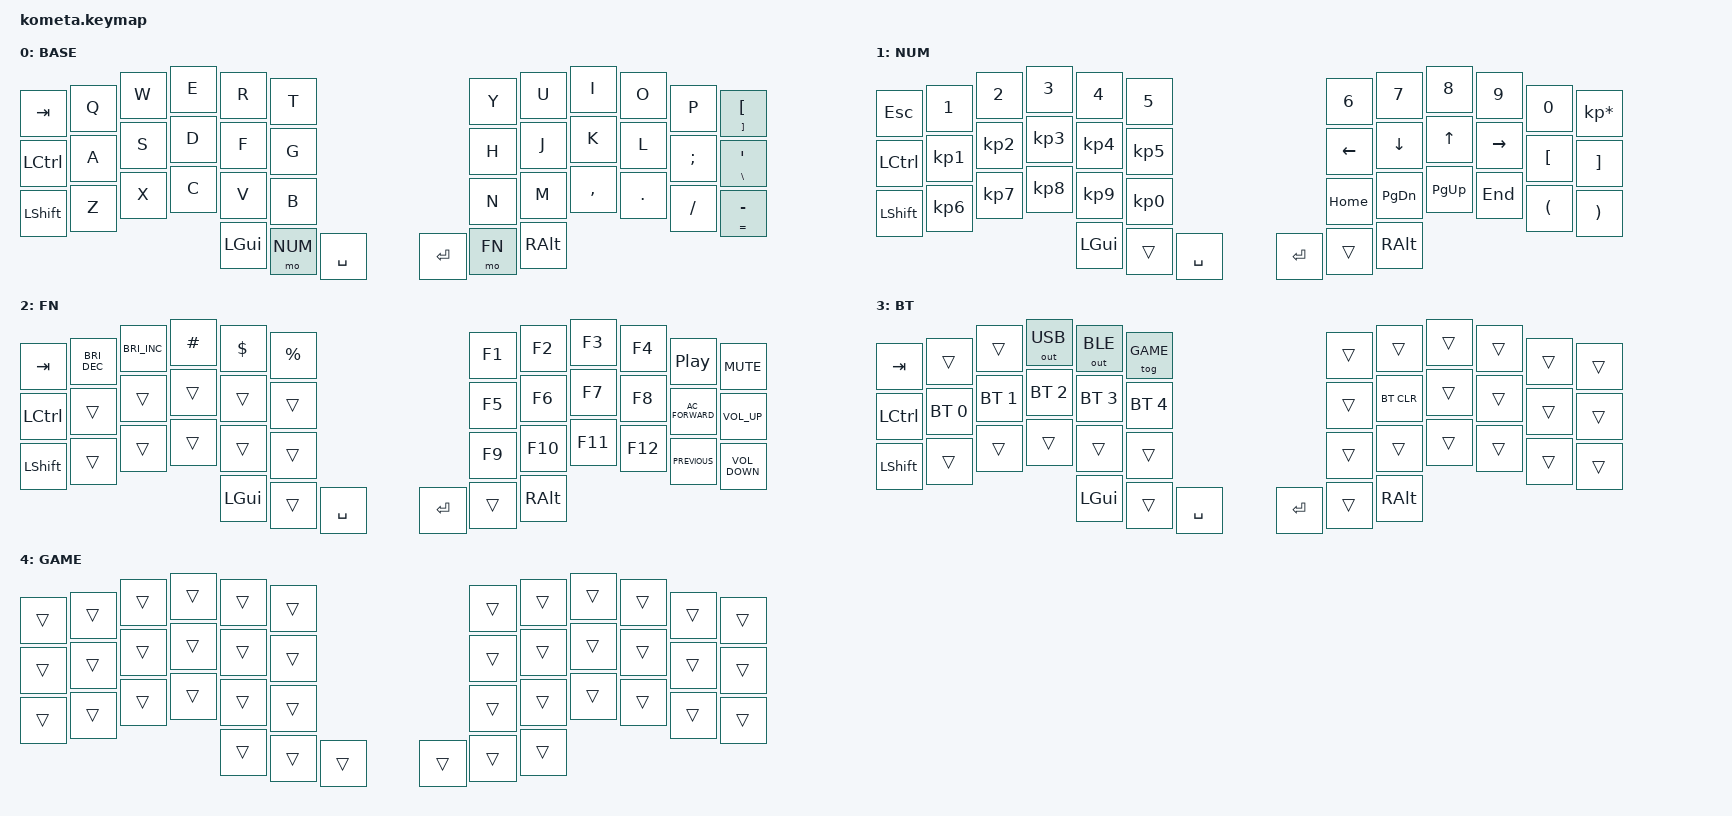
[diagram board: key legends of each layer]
/*
 * Copyright (c) 2020 The ZMK Contributors
 *
 * SPDX-License-Identifier: MIT
 */

#include <behaviors.dtsi>
#include <dt-bindings/zmk/bt.h>
#include <dt-bindings/zmk/keys.h>
#include <dt-bindings/zmk/outputs.h>

#define BASE 0
#define NUM 1
#define FN 2
#define BT 3
#define GAME 4


/ {
    combos {
        compatible = "zmk,combos";

        combo_esc {
            timeout-ms = <50>;
            key-positions = <1 2>;
            // off while GAME is toggled: Q+W get mashed together in games
            layers = <BASE NUM FN BT>;
            bindings = <&kp ESC>;
        };

        combo_backspace {
            timeout-ms = <50>;
            key-positions = <9 10>;
            layers = <BASE FN GAME>;
            bindings = <&kp BACKSPACE>;
        };

        combo_delete {
            timeout-ms = <50>;
            key-positions = <21 22>;
            bindings = <&kp DELETE>;
        };
    };

    behaviors {
        ss_hs_modmorph: ss_hs_modmorph {
            compatible = "zmk,behavior-mod-morph";
            label = "SS_HS_MODMORPH";
            bindings = <&kp M>, <&kp RIGHT_BRACKET>;
            #binding-cells = <0>;
            mods = <(MOD_LSFT|MOD_RSFT)>;
        };

        kh_hs_tapdance: kh_hs_tapdance {
            compatible = "zmk,behavior-tap-dance";
            label = "KH_HS_TAPDANCE";
            #binding-cells = <0>;
            tapping-term-ms = <200>;
            bindings = <&kp LEFT_BRACKET>, <&kp RIGHT_BRACKET>;
        };

        hrm: hrm {
            compatible = "zmk,behavior-hold-tap";
            #binding-cells = <2>;
            flavor = "tap-preferred";
            tapping-term-ms = <200>;
            quick-tap-ms = <200>;
            require-prior-idle-ms = <125>;
            bindings = <&kp>, <&kp>;
        };
    };

    keymap {
        compatible = "zmk,keymap";

        default_layer {
            display-name = "BASE";
            bindings = <
                &kp TAB   &kp Q     &kp W     &kp E     &kp R     &kp T        &kp Y     &kp U       &kp I       &kp O      &kp P     &mt RIGHT_BRACKET LEFT_BRACKET
                &kp LCTRL &kp A     &kp S     &kp D     &kp F     &kp G        &kp H     &kp J       &kp K       &kp L      &kp SEMI  &mt BACKSLASH SQT
                &kp LSHFT &kp Z     &kp X     &kp C     &kp V     &kp B        &kp N     &kp M       &kp COMMA   &kp DOT    &kp FSLH  &mt EQUAL MINUS
                                      &kp LGUI  &mo NUM &kp SPACE  &kp RET      &mo FN &kp RALT
            >;
        };

        num_layer {
            display-name = "NUM";
            bindings = <
                &kp ESC   &kp NUMBER_1 &kp NUMBER_2 &kp NUMBER_3 &kp NUMBER_4 &kp N5       &kp NUMBER_6 &kp N7        &kp N8       &kp N9     &kp N0     &kp KP_ASTERISK
                &kp LCTRL &kp KP_N1    &kp KP_N2    &kp KP_N3    &kp KP_N4    &kp KP_N5    &kp LEFT_ARROW &kp DOWN_ARROW &kp UP_ARROW &kp RIGHT  &kp LBKT   &kp RBKT
                &kp LSHFT &kp KP_N6    &kp KP_N7    &kp KP_N8    &kp KP_N9    &kp KP_N0    &kp HOME     &kp PAGE_DOWN &kp PAGE_UP  &kp END    &kp LEFT_PARENTHESIS &kp RIGHT_PARENTHESIS
                                                                  &kp LGUI     &trans       &kp SPACE    &kp RET       &trans      &kp RALT
            >;
        };

        fn_layer {
            display-name = "FN";
            bindings = <
                &kp TAB   &kp C_BRIGHTNESS_DEC &kp C_BRI_INC &kp HASH  &kp DLLR  &kp PRCNT     &kp F1    &kp F2     &kp F3     &kp F4    &kp C_PP          &kp K_MUTE
                &kp LCTRL &trans               &trans        &trans    &trans    &trans        &kp F5    &kp F6     &kp F7     &kp F8    &kp C_AC_FORWARD  &kp C_VOLUME_UP
                &kp LSHFT &trans               &trans        &trans    &trans    &trans        &kp F9    &kp F10    &kp F11    &kp F12   &kp C_PREVIOUS    &kp C_VOLUME_DOWN
                                                                           &kp LGUI &trans    &kp SPACE  &kp RET   &trans       &kp RALT
            >;
        };

        bt_layer {
            display-name = "BT";
            bindings = <
                &kp TAB   &trans       &trans        &out OUT_USB &out OUT_BLE &tog GAME     &trans       &trans        &trans       &trans       &trans     &trans
                &kp LCTRL &bt BT_SEL 0 &bt BT_SEL 1   &bt BT_SEL 2 &bt BT_SEL 3 &bt BT_SEL 4  &trans       &bt BT_CLR     &trans       &trans       &trans     &trans
                &kp LSHFT &trans       &trans         &trans       &trans       &trans        &trans       &trans         &trans       &trans       &trans     &trans
                                            &kp LGUI   &trans       &kp SPACE    &kp RET       &trans       &kp RALT
            >;
        };

        // Transparent toggle: being the highest active layer, it disables the
        // Q+W esc combo (and its 50 ms wait on Q/W) without changing any key.
        game_layer {
            display-name = "GAME";
            bindings = <
                &trans    &trans    &trans    &trans    &trans    &trans       &trans    &trans    &trans    &trans    &trans    &trans
                &trans    &trans    &trans    &trans    &trans    &trans       &trans    &trans    &trans    &trans    &trans    &trans
                &trans    &trans    &trans    &trans    &trans    &trans       &trans    &trans    &trans    &trans    &trans    &trans
                                    &trans    &trans    &trans       &trans    &trans    &trans
            >;
        };

    };

    conditional_layers {
        compatible = "zmk,conditional-layers";

        bt_layer {
            if-layers = <NUM FN>;
            then-layer = <BT>;
        };

    };
};
